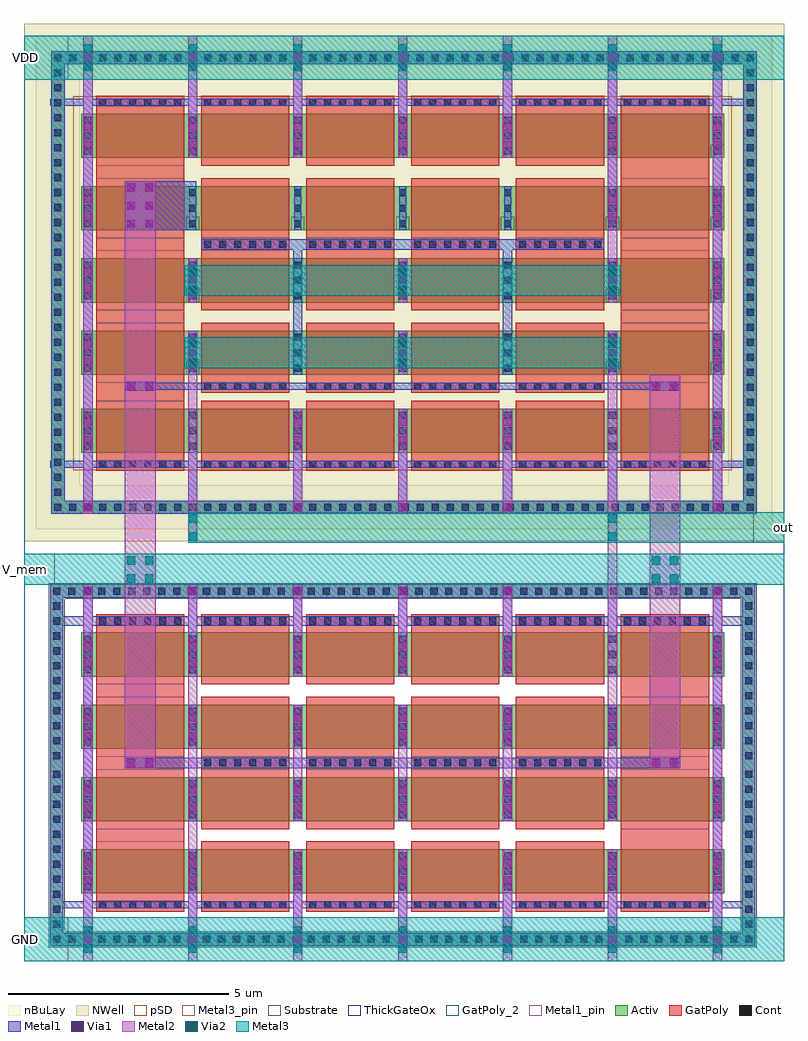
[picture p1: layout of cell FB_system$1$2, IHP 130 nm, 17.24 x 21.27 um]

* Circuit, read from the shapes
.subckt FB_system$1$2 GND VDD V_mem out
XM1 GND GND GND GND sg13_hv_nmos w=1u l=2u m=14
XM2 n1 V_mem GND GND sg13_hv_nmos w=1u l=2u m=2
XM3 n2 V_mem n1 GND sg13_hv_nmos w=1u l=2u m=2
XM4 n3 V_mem n2 GND sg13_hv_nmos w=1u l=2u m=2
XM5 out V_mem n3 GND sg13_hv_nmos w=1u l=2u m=2
XM6 GND GND out GND sg13_hv_nmos w=1u l=2u m=2
XM7 VDD VDD VDD VDD sg13_hv_pmos w=1u l=2u m=15
XM8 out VDD VDD VDD sg13_hv_pmos w=1u l=2u m=2
XM9 V_mem VDD VDD VDD sg13_hv_pmos w=1u l=2u
XM10 n4 V_mem out VDD sg13_hv_pmos w=1u l=2u m=4
XM11 n4 n4 VDD VDD sg13_hv_pmos w=1u l=2u m=4
XM12 n5 n4 V_mem VDD sg13_hv_pmos w=1u l=2u
XM13 n6 n4 n5 VDD sg13_hv_pmos w=1u l=2u
XM14 n7 n4 n6 VDD sg13_hv_pmos w=1u l=2u
XM15 VDD n4 n7 VDD sg13_hv_pmos w=1u l=2u
.ends

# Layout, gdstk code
from math import pi, radians
import gdstk
lib = gdstk.Library(unit=1e-6, precision=1e-09)
def R(c, l, rs):  # rectangles x0, y0, x1, y1
    for r in rs: c.add(gdstk.rectangle(r[:2], r[2:], *l))
def A(c, l, x, y, w, h, nx, ny, dx, dy):  # array of equal rectangles
    R(c, l, [(x+i*dx, y+j*dy, x+i*dx+w, y+j*dy+h) for i in range(nx) for j in range(ny)])
def P(c, l, *ps):  # polygons
    for p in ps: c.add(gdstk.Polygon(p, *l))
Activ = (1, 0)
GatPoly = (5, 0)
GatPoly_2 = (5, 2)
Cont = (6, 0)
Metal1 = (8, 0)
Metal1_pin = (8, 2)
Metal2 = (10, 0)
pSD = (14, 0)
Via1 = (19, 0)
Via2 = (29, 0)
Metal3 = (30, 0)
Metal3_pin = (30, 2)
NWell = (31, 0)
nBuLay = (32, 0)
Substrate = (40, 0)
ThickGateOx = (44, 0)

guard_ring_1_1_2 = lib.new_cell('guard_ring$1$1$2')
R(guard_ring_1_1_2, Activ, [(-8,-4.95,-7.7,4.95), (7.7,-4.95,8,4.95), (-8,4.95,8,5.25)])
P(guard_ring_1_1_2, Activ, [(-8,-5.25),(-8,4.95),(-7.7,4.95),(-7.7,-4.95),(7.7,-4.95),(7.7,4.95),(-8,4.95),(-8,5.25),(8,5.25),(8,-5.25)])
A(guard_ring_1_1_2, Cont, -7.93, -5.18, 0.16, 0.16, 23, 2, 0.34, 10.2)
A(guard_ring_1_1_2, Cont, -0.05, -5.18, 0.16, 0.16, 24, 2, 0.34, 10.2)
A(guard_ring_1_1_2, Cont, -7.93, -4.84, 0.16, 0.16, 1, 29, 0, 0.34)
A(guard_ring_1_1_2, Cont, 7.77, -4.84, 0.16, 0.16, 1, 29, 0, 0.34)
R(guard_ring_1_1_2, Metal1, [(-8,-5.25,8,-4.95), (-8,-4.95,-7.7,4.95), (7.7,-4.95,8,4.95), (-8,4.95,8,5.25)])
R(guard_ring_1_1_2, NWell, [(-8.35,-5.6,8.35,5.6)])
R(guard_ring_1_1_2, nBuLay, [(-8.35,-4.6,-7.35,4.6), (7.35,-4.6,8.35,4.6), (-8.35,4.6,8.35,5.6)])
P(guard_ring_1_1_2, nBuLay, [(-8.35,-5.6),(-8.35,4.6),(-7.35,4.6),(-7.35,-4.6),(7.35,-4.6),(7.35,4.6),(-8.35,4.6),(-8.35,5.6),(8.35,5.6),(8.35,-5.6)])
guard_ring_1_1_2.add(gdstk.Label('well', (0,-5.1), layer=63, texttype=0))

via_stack_21_2 = lib.new_cell('via_stack$21$2')
R(via_stack_21_2, Metal1, [(-0.105,-0.35,0.105,0.35)])
R(via_stack_21_2, Metal2, [(-0.1,-0.35,0.1,0.35)])
R(via_stack_21_2, Via1, [(-0.095,-0.3,0.095,-0.11), (-0.095,0.11,0.095,0.3)])

via_stack_1_1_2 = lib.new_cell('via_stack$1$1$2')
R(via_stack_1_1_2, Metal2, [(-0.1,-0.35,0.1,0.35)])
R(via_stack_1_1_2, Via2, [(-0.095,-0.3,0.095,-0.11), (-0.095,0.11,0.095,0.3)])
R(via_stack_1_1_2, Metal3, [(-0.1,-0.35,0.1,0.35)])

via_stack_2_1_2 = lib.new_cell('via_stack$2$1$2')
R(via_stack_2_1_2, Metal1, [(-0.145,-0.105,0.145,0.105)])
R(via_stack_2_1_2, Metal2, [(-0.145,-0.1,0.145,0.1)])
R(via_stack_2_1_2, Via1, [(-0.095,-0.095,0.095,0.095)])

pmoshv_2_1_2 = lib.new_cell('pmosHV$2$1$2')
A(pmoshv_2_1_2, Activ, 0, 0, 0.3, 0.3, 5, 1, 2.38, 0)
R(pmoshv_2_1_2, Activ, [(0,0,9.82,1)])
A(pmoshv_2_1_2, GatPoly, 0.34, -0.18, 2, 1.36, 4, 1, 2.38, 0)
R(pmoshv_2_1_2, GatPoly_2, [(0.34,-0.18,2.34,1.18)])
A(pmoshv_2_1_2, Cont, 0.07, 0.07, 0.16, 0.16, 5, 3, 2.38, 0.35)
A(pmoshv_2_1_2, Metal1, 0.07, 0, 0.16, 1, 5, 1, 2.38, 0)
R(pmoshv_2_1_2, Metal1_pin, [(0.07,0,0.23,1), (2.45,0,2.61,1)])
R(pmoshv_2_1_2, pSD, [(-0.18,-0.4,10,1.4)])
R(pmoshv_2_1_2, NWell, [(-0.62,-0.62,10.44,1.62)])
R(pmoshv_2_1_2, Substrate, [(9.52,0,9.82,0.3)])
R(pmoshv_2_1_2, ThickGateOx, [(-0.62,-0.62,10.44,1.62)])
pmoshv_2_1_2.add(gdstk.Label('pmosHV', (1.34,0.5), layer=63, texttype=0))

pmoshv_3_3_2 = lib.new_cell('pmosHV$3$3$2')
A(pmoshv_3_3_2, Activ, 0, 0, 0.3, 0.3, 7, 1, 2.38, 0)
R(pmoshv_3_3_2, Activ, [(0,0,14.58,1)])
A(pmoshv_3_3_2, GatPoly, 0.34, -0.18, 2, 1.36, 6, 1, 2.38, 0)
R(pmoshv_3_3_2, GatPoly_2, [(0.34,-0.18,2.34,1.18)])
A(pmoshv_3_3_2, Cont, 0.07, 0.07, 0.16, 0.16, 7, 3, 2.38, 0.35)
A(pmoshv_3_3_2, Metal1, 0.07, 0, 0.16, 1, 7, 1, 2.38, 0)
R(pmoshv_3_3_2, Metal1_pin, [(0.07,0,0.23,1), (2.45,0,2.61,1)])
R(pmoshv_3_3_2, pSD, [(-0.18,-0.4,14.76,1.4)])
R(pmoshv_3_3_2, NWell, [(-0.62,-0.62,15.2,1.62)])
R(pmoshv_3_3_2, Substrate, [(14.28,0,14.58,0.3)])
R(pmoshv_3_3_2, ThickGateOx, [(-0.62,-0.62,15.2,1.62)])
pmoshv_3_3_2.add(gdstk.Label('pmosHV', (1.34,0.5), layer=63, texttype=0))

pmoshv_9_2 = lib.new_cell('pmosHV$9$2')
R(pmoshv_9_2, Activ, [(0,0,0.3,0.3), (0,0,2.68,1), (2.38,0,2.68,0.3)])
R(pmoshv_9_2, GatPoly, [(0.34,-0.18,2.34,1.18)])
R(pmoshv_9_2, GatPoly_2, [(0.34,-0.18,2.34,1.18)])
A(pmoshv_9_2, Cont, 0.07, 0.07, 0.16, 0.16, 1, 3, 0, 0.35)
A(pmoshv_9_2, Cont, 2.45, 0.07, 0.16, 0.16, 1, 3, 0, 0.35)
R(pmoshv_9_2, Metal1, [(0.07,0,0.23,1), (2.45,0,2.61,1)])
R(pmoshv_9_2, Metal1_pin, [(0.07,0,0.23,1), (2.45,0,2.61,1)])
R(pmoshv_9_2, pSD, [(-0.18,-0.4,2.86,1.4)])
R(pmoshv_9_2, NWell, [(-0.62,-0.62,3.3,1.62)])
R(pmoshv_9_2, Substrate, [(2.38,0,2.68,0.3)])
R(pmoshv_9_2, ThickGateOx, [(-0.62,-0.62,3.3,1.62)])
pmoshv_9_2.add(gdstk.Label('pmosHV', (1.34,0.5), layer=63, texttype=0))

nmoshv_7_2 = lib.new_cell('nmosHV$7$2')
R(nmoshv_7_2, Activ, [(0,0,0.3,0.3), (0,0,2.68,1), (2.38,0,2.68,0.3)])
R(nmoshv_7_2, GatPoly, [(0.34,-0.18,2.34,1.18)])
R(nmoshv_7_2, GatPoly_2, [(0.34,-0.18,2.34,1.18)])
A(nmoshv_7_2, Cont, 0.07, 0.07, 0.16, 0.16, 1, 3, 0, 0.35)
A(nmoshv_7_2, Cont, 2.45, 0.07, 0.16, 0.16, 1, 3, 0, 0.35)
R(nmoshv_7_2, Metal1, [(0.07,0,0.23,1), (2.45,0,2.61,1)])
R(nmoshv_7_2, Metal1_pin, [(0.07,0,0.23,1), (2.45,0,2.61,1)])
R(nmoshv_7_2, ThickGateOx, [(-0.27,-0.52,2.95,1.52)])
nmoshv_7_2.add(gdstk.Label('nmosHV', (1.34,0.5), layer=63, texttype=0))

nmoshv_2_1_2 = lib.new_cell('nmosHV$2$1$2')
A(nmoshv_2_1_2, Activ, 0, 0, 0.3, 0.3, 7, 1, 2.38, 0)
R(nmoshv_2_1_2, Activ, [(0,0,14.58,1)])
A(nmoshv_2_1_2, GatPoly, 0.34, -0.18, 2, 1.36, 6, 1, 2.38, 0)
R(nmoshv_2_1_2, GatPoly_2, [(0.34,-0.18,2.34,1.18)])
A(nmoshv_2_1_2, Cont, 0.07, 0.07, 0.16, 0.16, 7, 3, 2.38, 0.35)
A(nmoshv_2_1_2, Metal1, 0.07, 0, 0.16, 1, 7, 1, 2.38, 0)
R(nmoshv_2_1_2, Metal1_pin, [(0.07,0,0.23,1), (2.45,0,2.61,1)])
R(nmoshv_2_1_2, ThickGateOx, [(-0.27,-0.52,14.85,1.52)])
nmoshv_2_1_2.add(gdstk.Label('nmosHV', (1.34,0.5), layer=63, texttype=0))

guard_ring_5_2 = lib.new_cell('guard_ring$5$2')
R(guard_ring_5_2, Activ, [(-8,-3.8,-7.7,3.8), (7.7,-3.8,8,3.8), (-8,3.8,8,4.1)])
P(guard_ring_5_2, Activ, [(-8,-4.1),(-8,3.8),(-7.7,3.8),(-7.7,-3.8),(7.7,-3.8),(7.7,3.8),(-8,3.8),(-8,4.1),(8,4.1),(8,-4.1)])
A(guard_ring_5_2, Cont, -7.93, -4.03, 0.16, 0.16, 23, 2, 0.34, 7.9)
A(guard_ring_5_2, Cont, -0.05, -4.03, 0.16, 0.16, 24, 2, 0.34, 7.9)
A(guard_ring_5_2, Cont, -7.93, -3.69, 0.16, 0.16, 1, 11, 0, 0.34)
A(guard_ring_5_2, Cont, 7.77, -3.69, 0.16, 0.16, 1, 11, 0, 0.34)
A(guard_ring_5_2, Cont, -7.93, 0.13, 0.16, 0.16, 1, 11, 0, 0.34)
A(guard_ring_5_2, Cont, 7.77, 0.13, 0.16, 0.16, 1, 11, 0, 0.34)
R(guard_ring_5_2, Metal1, [(-8,-4.1,8,-3.8), (-8,-3.8,-7.7,3.8), (7.7,-3.8,8,3.8), (-8,3.8,8,4.1)])
R(guard_ring_5_2, pSD, [(-8.03,-3.77,-7.67,3.77), (7.67,-3.77,8.03,3.77), (-8.03,3.77,8.03,4.13)])
P(guard_ring_5_2, pSD, [(-8.03,-4.13),(-8.03,3.77),(-7.67,3.77),(-7.67,-3.77),(7.67,-3.77),(7.67,3.77),(-8.03,3.77),(-8.03,4.13),(8.03,4.13),(8.03,-4.13)])
R(guard_ring_5_2, Substrate, [(-8.03,-3.77,-7.67,3.77), (7.67,-3.77,8.03,3.77), (-8.03,3.77,8.03,4.13)])
P(guard_ring_5_2, Substrate, [(-8.03,-4.13),(-8.03,3.77),(-7.67,3.77),(-7.67,-3.77),(7.67,-3.77),(7.67,3.77),(-8.03,3.77),(-8.03,4.13),(8.03,4.13),(8.03,-4.13)])
guard_ring_5_2.add(gdstk.Label('sub!', (0,-3.95), layer=63, texttype=0))

via_stack_3_1_2 = lib.new_cell('via_stack$3$1$2')
R(via_stack_3_1_2, GatPoly, [(-1,-0.15,1,0.15)])
A(via_stack_3_1_2, Cont, -0.93, -0.08, 0.16, 0.16, 6, 1, 0.34, 0)
R(via_stack_3_1_2, Metal1, [(-0.98,-0.08,0.98,0.08)])

via_stack_4_1_2 = lib.new_cell('via_stack$4$1$2')
R(via_stack_4_1_2, Metal1, [(-0.35,-0.105,0.35,0.105)])
R(via_stack_4_1_2, Metal2, [(-0.35,-0.1,0.35,0.1)])
R(via_stack_4_1_2, Via1, [(-0.3,-0.095,-0.11,0.095), (0.11,-0.095,0.3,0.095)])

via_stack_5_1_2 = lib.new_cell('via_stack$5$1$2')
R(via_stack_5_1_2, Metal1, [(-0.31,-0.555,0.31,0.555)])
R(via_stack_5_1_2, Metal2, [(-0.305,-0.555,0.305,0.555)])
A(via_stack_5_1_2, Via1, -0.3, -0.505, 0.19, 0.19, 1, 3, 0, 0.41)
A(via_stack_5_1_2, Via1, 0.11, -0.505, 0.19, 0.19, 1, 3, 0, 0.41)

via_stack_6_1_2 = lib.new_cell('via_stack$6$1$2')
R(via_stack_6_1_2, Metal2, [(-0.35,-0.305,0.35,0.305)])
R(via_stack_6_1_2, Via2, [(-0.3,-0.3,-0.11,-0.11), (0.11,-0.3,0.3,-0.11), (-0.3,0.11,-0.11,0.3), (0.11,0.11,0.3,0.3)])
R(via_stack_6_1_2, Metal3, [(-0.35,-0.305,0.35,0.305)])

fb_system_1_2 = lib.new_cell('FB_system$1$2')
A(fb_system_1_2, GatPoly, 4.02, 2.5, 2, 3, 4, 2, 2.38, 11.765)
R(fb_system_1_2, GatPoly, [(1.64,0.86,3.64,7.14), (13.54,0.86,15.54,7.14), (1.64,10.625,3.64,19.135), (13.54,10.625,15.54,19.135)])
A(fb_system_1_2, Metal1, 1.345, 1.04, 0.21, 1, 7, 3, 2.38, 1.64)
A(fb_system_1_2, Metal1, 1.345, 5.96, 0.21, 1, 4, 1, 2.38, 0)
A(fb_system_1_2, Metal1, 6.105, 11.035, 0.21, 1, 3, 1, 2.38, 0)
A(fb_system_1_2, Metal1, 1.345, 12.805, 0.21, 1, 1, 3, 0, 1.64)
A(fb_system_1_2, Metal1, 15.625, 12.805, 0.21, 1, 1, 3, 0, 1.64)
A(fb_system_1_2, Metal1, 3.725, 14.445, 0.21, 1, 3, 1, 4.76, 0)
A(fb_system_1_2, Metal1, 1.345, 17.725, 0.21, 1, 7, 1, 2.38, 0)
R(fb_system_1_2, Metal1, [(8.485,5.96,8.695,6.96), (10.865,5.96,11.075,6.96), (10.865,5.96,11.075,6.96), (15.625,5.96,15.835,6.96), (15.625,5.96,15.835,6.96), (1.345,11.035,1.555,12.035), (15.625,11.035,15.835,12.035), (3.725,12.805,3.935,13.805), (8.485,12.805,8.695,13.805), (8.485,12.805,8.695,13.805), (13.245,12.805,13.455,13.805), (2.285,16.085,3.91,17.195), (13.245,16.085,13.455,17.085)])
A(fb_system_1_2, Metal2, 3.725, 14.445, 0.21, 1, 3, 1, 4.76, 0)
R(fb_system_1_2, Metal2, [(8.485,12.805,8.695,13.805)])
R(fb_system_1_2, Metal3_pin, [(0,-0.5,1,0.5), (0,8.04,0.7,8.74), (16.54,8.99,17.24,9.69), (0,19.5,1,20.5)])
R(fb_system_1_2, NWell, [(0,9.025,17.24,20.77)])
R(fb_system_1_2, ThickGateOx, [(0,-0.5,17.24,20.5)])
fb_system_1_2.add(gdstk.FlexPath([(2.285,4),(14.89,4)], 0.24, ends="flush", simple_path=True, layer=8, datatype=0))  # Metal1
fb_system_1_2.add(gdstk.FlexPath([(4.02,15.765),(13.16,15.765)], 0.24, ends="flush", simple_path=True, layer=8, datatype=0))  # Metal1
fb_system_1_2.add(gdstk.FlexPath([(2.285,12.545),(14.89,12.545)], 0.16, ends="flush", simple_path=True, layer=8, datatype=0))  # Metal1
fb_system_1_2.add(gdstk.FlexPath([(0.59,7.22),(16.59,7.22)], 0.21, ends="flush", simple_path=True, layer=8, datatype=0))  # Metal1
fb_system_1_2.add(gdstk.FlexPath([(0.59,0.78),(16.59,0.78)], 0.16, ends="flush", simple_path=True, layer=8, datatype=0))  # Metal1
fb_system_1_2.add(gdstk.FlexPath([(15.73,8.05),(15.73,5.96)], 0.21, ends="flush", simple_path=True, layer=8, datatype=0))  # Metal1
fb_system_1_2.add(gdstk.FlexPath([(3.83,5.96),(3.83,8.05)], 0.21, ends="flush", simple_path=True, layer=8, datatype=0))  # Metal1
fb_system_1_2.add(gdstk.FlexPath([(6.21,5.96),(6.21,8.05)], 0.21, ends="flush", simple_path=True, layer=8, datatype=0))  # Metal1
fb_system_1_2.add(gdstk.FlexPath([(8.59,5.96),(8.59,8.05)], 0.21, ends="flush", simple_path=True, layer=8, datatype=0))  # Metal1
fb_system_1_2.add(gdstk.FlexPath([(10.97,5.96),(10.97,8.05)], 0.21, ends="flush", simple_path=True, layer=8, datatype=0))  # Metal1
fb_system_1_2.add(gdstk.FlexPath([(1.45,2.04),(1.45,0)], 0.21, ends="flush", simple_path=True, layer=8, datatype=0))  # Metal1
fb_system_1_2.add(gdstk.FlexPath([(1.45,8.05),(1.45,-0.15)], 0.21, ends="flush", simple_path=True, layer=8, datatype=0))  # Metal1
fb_system_1_2.add(gdstk.FlexPath([(15.73,2.04),(15.73,0)], 0.21, ends="flush", simple_path=True, layer=8, datatype=0))  # Metal1
fb_system_1_2.add(gdstk.FlexPath([(3.83,0),(3.83,2.04)], 0.21, ends="flush", simple_path=True, layer=8, datatype=0))  # Metal1
fb_system_1_2.add(gdstk.FlexPath([(6.21,0),(6.21,2.04)], 0.21, ends="flush", simple_path=True, layer=8, datatype=0))  # Metal1
fb_system_1_2.add(gdstk.FlexPath([(8.59,0),(8.59,2.04)], 0.21, ends="flush", simple_path=True, layer=8, datatype=0))  # Metal1
fb_system_1_2.add(gdstk.FlexPath([(10.97,0),(10.97,2.04)], 0.21, ends="flush", simple_path=True, layer=8, datatype=0))  # Metal1
fb_system_1_2.add(gdstk.FlexPath([(13.35,0),(13.35,2.04)], 0.21, ends="flush", simple_path=True, layer=8, datatype=0))  # Metal1
fb_system_1_2.add(gdstk.FlexPath([(8.59,0),(8.59,2.04)], 0.21, ends="flush", simple_path=True, layer=8, datatype=0))  # Metal1
fb_system_1_2.add(gdstk.FlexPath([(6.21,0),(6.21,2.04)], 0.21, ends="flush", simple_path=True, layer=8, datatype=0))  # Metal1
fb_system_1_2.add(gdstk.FlexPath([(3.83,0),(3.83,2.04)], 0.21, ends="flush", simple_path=True, layer=8, datatype=0))  # Metal1
fb_system_1_2.add(gdstk.FlexPath([(8.59,5.96),(8.59,8.05)], 0.21, ends="flush", simple_path=True, layer=8, datatype=0))  # Metal1
fb_system_1_2.add(gdstk.FlexPath([(10.97,5.96),(10.97,8.05)], 0.21, ends="flush", simple_path=True, layer=8, datatype=0))  # Metal1
fb_system_1_2.add(gdstk.FlexPath([(13.35,5.96),(13.35,8.05)], 0.21, ends="flush", simple_path=True, layer=8, datatype=0))  # Metal1
fb_system_1_2.add(gdstk.FlexPath([(15.73,-0.15),(15.73,8.05)], 0.21, ends="flush", simple_path=True, layer=8, datatype=0))  # Metal1
fb_system_1_2.add(gdstk.FlexPath([(6.21,12.805),(6.21,15.885)], 0.21, ends="flush", simple_path=True, layer=8, datatype=0))  # Metal1
fb_system_1_2.add(gdstk.FlexPath([(10.97,12.805),(10.97,15.885)], 0.21, ends="flush", simple_path=True, layer=8, datatype=0))  # Metal1
fb_system_1_2.add(gdstk.FlexPath([(15.73,9.65),(15.73,20.15)], 0.21, ends="flush", simple_path=True, layer=8, datatype=0))  # Metal1
fb_system_1_2.add(gdstk.FlexPath([(1.45,9.65),(1.45,20.15)], 0.21, ends="flush", simple_path=True, layer=8, datatype=0))  # Metal1
fb_system_1_2.add(gdstk.FlexPath([(10.97,12.035),(10.97,9.65)], 0.21, ends="flush", simple_path=True, layer=8, datatype=0))  # Metal1
fb_system_1_2.add(gdstk.FlexPath([(8.59,12.035),(8.59,9.65)], 0.21, ends="flush", simple_path=True, layer=8, datatype=0))  # Metal1
fb_system_1_2.add(gdstk.FlexPath([(6.21,12.035),(6.21,9.65)], 0.21, ends="flush", simple_path=True, layer=8, datatype=0))  # Metal1
fb_system_1_2.add(gdstk.FlexPath([(3.83,12.035),(3.83,9.65)], 0.21, ends="flush", simple_path=True, layer=8, datatype=0))  # Metal1
fb_system_1_2.add(gdstk.FlexPath([(13.35,12.035),(13.35,9.65)], 0.21, ends="flush", simple_path=True, layer=8, datatype=0))  # Metal1
fb_system_1_2.add(gdstk.FlexPath([(3.83,17.725),(3.83,20.15)], 0.21, ends="flush", simple_path=True, layer=8, datatype=0))  # Metal1
fb_system_1_2.add(gdstk.FlexPath([(6.21,17.725),(6.21,20.15)], 0.21, ends="flush", simple_path=True, layer=8, datatype=0))  # Metal1
fb_system_1_2.add(gdstk.FlexPath([(8.59,17.725),(8.59,20.15)], 0.21, ends="flush", simple_path=True, layer=8, datatype=0))  # Metal1
fb_system_1_2.add(gdstk.FlexPath([(10.97,17.725),(10.97,20.15)], 0.21, ends="flush", simple_path=True, layer=8, datatype=0))  # Metal1
fb_system_1_2.add(gdstk.FlexPath([(13.35,16.085),(13.35,20.15)], 0.21, ends="flush", simple_path=True, layer=8, datatype=0))  # Metal1
fb_system_1_2.add(gdstk.FlexPath([(0.59,18.985),(16.59,18.985)], 0.16, ends="flush", simple_path=True, layer=8, datatype=0))  # Metal1
fb_system_1_2.add(gdstk.FlexPath([(0.59,10.775),(16.59,10.775)], 0.16, ends="flush", simple_path=True, layer=8, datatype=0))  # Metal1
fb_system_1_2.add(gdstk.FlexPath([(6.21,5.32),(6.21,2.68)], 0.21, ends="flush", simple_path=True, layer=10, datatype=0))  # Metal2
fb_system_1_2.add(gdstk.FlexPath([(3.83,5.32),(3.83,2.68)], 0.21, ends="flush", simple_path=True, layer=10, datatype=0))  # Metal2
fb_system_1_2.add(gdstk.FlexPath([(8.59,5.32),(8.59,2.68)], 0.21, ends="flush", simple_path=True, layer=10, datatype=0))  # Metal2
fb_system_1_2.add(gdstk.FlexPath([(10.97,5.32),(10.97,2.68)], 0.21, ends="flush", simple_path=True, layer=10, datatype=0))  # Metal2
fb_system_1_2.add(gdstk.FlexPath([(1.45,8.05),(1.45,-0.5)], 0.21, ends="flush", simple_path=True, layer=10, datatype=0))  # Metal2
fb_system_1_2.add(gdstk.FlexPath([(15.73,8.05),(15.73,-0.5)], 0.21, ends="flush", simple_path=True, layer=10, datatype=0))  # Metal2
fb_system_1_2.add(gdstk.FlexPath([(13.35,2.04),(13.35,-0.5)], 0.21, ends="flush", simple_path=True, layer=10, datatype=0))  # Metal2
fb_system_1_2.add(gdstk.FlexPath([(10.97,2.04),(10.97,-0.5)], 0.21, ends="flush", simple_path=True, layer=10, datatype=0))  # Metal2
fb_system_1_2.add(gdstk.FlexPath([(8.59,2.04),(8.59,-0.5)], 0.21, ends="flush", simple_path=True, layer=10, datatype=0))  # Metal2
fb_system_1_2.add(gdstk.FlexPath([(6.21,2.04),(6.21,-0.5)], 0.21, ends="flush", simple_path=True, layer=10, datatype=0))  # Metal2
fb_system_1_2.add(gdstk.FlexPath([(3.83,2.04),(3.83,-0.5)], 0.21, ends="flush", simple_path=True, layer=10, datatype=0))  # Metal2
fb_system_1_2.add(gdstk.FlexPath([(3.83,8.05),(3.83,-0.5)], 0.21, ends="flush", simple_path=True, layer=10, datatype=0))  # Metal2
fb_system_1_2.add(gdstk.FlexPath([(6.21,5.96),(6.21,8.05)], 0.21, ends="flush", simple_path=True, layer=10, datatype=0))  # Metal2
fb_system_1_2.add(gdstk.FlexPath([(8.59,5.96),(8.59,8.05)], 0.21, ends="flush", simple_path=True, layer=10, datatype=0))  # Metal2
fb_system_1_2.add(gdstk.FlexPath([(10.97,5.96),(10.97,8.05)], 0.21, ends="flush", simple_path=True, layer=10, datatype=0))  # Metal2
fb_system_1_2.add(gdstk.FlexPath([(13.35,13.805),(13.35,2.68)], 0.21, ends="flush", simple_path=True, layer=10, datatype=0))  # Metal2
fb_system_1_2.add(gdstk.FlexPath([(2.635,3.88),(2.635,17.195)], 0.7, ends="flush", simple_path=True, layer=10, datatype=0))  # Metal2
fb_system_1_2.add(gdstk.FlexPath([(14.54,3.88),(14.54,12.805)], 0.7, ends="flush", simple_path=True, layer=10, datatype=0))  # Metal2
fb_system_1_2.add(gdstk.FlexPath([(3.83,13.805),(3.83,8.99)], 0.21, ends="flush", simple_path=True, layer=10, datatype=0))  # Metal2
fb_system_1_2.add(gdstk.FlexPath([(3.83,17.725),(3.83,20.5)], 0.21, ends="flush", simple_path=True, layer=10, datatype=0))  # Metal2
fb_system_1_2.add(gdstk.FlexPath([(6.21,17.725),(6.21,20.5)], 0.21, ends="flush", simple_path=True, layer=10, datatype=0))  # Metal2
fb_system_1_2.add(gdstk.FlexPath([(8.59,17.725),(8.59,20.5)], 0.21, ends="flush", simple_path=True, layer=10, datatype=0))  # Metal2
fb_system_1_2.add(gdstk.FlexPath([(10.97,17.725),(10.97,20.5)], 0.21, ends="flush", simple_path=True, layer=10, datatype=0))  # Metal2
fb_system_1_2.add(gdstk.FlexPath([(15.73,9.65),(15.73,20.5)], 0.21, ends="flush", simple_path=True, layer=10, datatype=0))  # Metal2
fb_system_1_2.add(gdstk.FlexPath([(1.45,9.65),(1.45,20.5)], 0.21, ends="flush", simple_path=True, layer=10, datatype=0))  # Metal2
fb_system_1_2.add(gdstk.FlexPath([(10.97,12.035),(10.97,9.65)], 0.21, ends="flush", simple_path=True, layer=10, datatype=0))  # Metal2
fb_system_1_2.add(gdstk.FlexPath([(8.59,12.035),(8.59,9.65)], 0.21, ends="flush", simple_path=True, layer=10, datatype=0))  # Metal2
fb_system_1_2.add(gdstk.FlexPath([(6.21,12.035),(6.21,9.65)], 0.21, ends="flush", simple_path=True, layer=10, datatype=0))  # Metal2
fb_system_1_2.add(gdstk.FlexPath([(13.35,14.445),(13.35,20.5)], 0.21, ends="flush", simple_path=True, layer=10, datatype=0))  # Metal2
fb_system_1_2.add(gdstk.FlexPath([(17.24,8.39),(0,8.39)], 0.7, ends="flush", simple_path=True, layer=30, datatype=0))  # Metal3
fb_system_1_2.add(gdstk.FlexPath([(3.725,9.34),(17.24,9.34)], 0.7, ends="flush", simple_path=True, layer=30, datatype=0))  # Metal3
fb_system_1_2.add(gdstk.FlexPath([(3.64,14.945),(13.54,14.945)], 0.7, ends="flush", simple_path=True, layer=30, datatype=0))  # Metal3
fb_system_1_2.add(gdstk.FlexPath([(3.64,13.305),(13.54,13.305)], 0.7, ends="flush", simple_path=True, layer=30, datatype=0))  # Metal3
fb_system_1_2.add(gdstk.FlexPath([(0,0),(17.24,0)], 1, ends="flush", simple_path=True, layer=30, datatype=0))  # Metal3
fb_system_1_2.add(gdstk.FlexPath([(0,20),(17.24,20)], 1, ends="flush", simple_path=True, layer=30, datatype=0))  # Metal3
fb_system_1_2.add(gdstk.Reference(guard_ring_1_1_2, (8.62,14.9)))
fb_system_1_2.add(gdstk.Reference(via_stack_21_2, (8.59,13.305)))
fb_system_1_2.add(gdstk.Reference(via_stack_1_1_2, (8.59,13.305)))
fb_system_1_2.add(gdstk.Reference(via_stack_21_2, (8.59,13.305)))
fb_system_1_2.add(gdstk.Reference(via_stack_1_1_2, (8.59,14.945)))
fb_system_1_2.add(gdstk.Reference(via_stack_21_2, (8.59,14.945)))
fb_system_1_2.add(gdstk.Reference(via_stack_1_1_2, (8.59,20)))
fb_system_1_2.add(gdstk.Reference(via_stack_2_1_2, (8.59,20), rotation=pi/2))
fb_system_1_2.add(gdstk.Reference(via_stack_21_2, (8.59,18.225)))
fb_system_1_2.add(gdstk.Reference(via_stack_21_2, (8.59,11.535)))
fb_system_1_2.add(gdstk.Reference(pmoshv_2_1_2, (3.68,12.805)))
fb_system_1_2.add(gdstk.Reference(pmoshv_3_3_2, (1.3,11.035)))
fb_system_1_2.add(gdstk.Reference(pmoshv_3_3_2, (1.3,17.725)))
fb_system_1_2.add(gdstk.Reference(pmoshv_2_1_2, (3.68,14.445)))
fb_system_1_2.add(gdstk.Reference(pmoshv_9_2, (6.06,16.085)))
fb_system_1_2.add(gdstk.Reference(pmoshv_9_2, (8.44,16.085)))
fb_system_1_2.add(gdstk.Reference(nmoshv_7_2, (6.06,2.68)))
fb_system_1_2.add(gdstk.Reference(nmoshv_7_2, (8.44,2.68)))
fb_system_1_2.add(gdstk.Reference(nmoshv_2_1_2, (1.3,5.96)))
fb_system_1_2.add(gdstk.Reference(nmoshv_7_2, (6.06,4.32)))
fb_system_1_2.add(gdstk.Reference(nmoshv_2_1_2, (1.3,1.04)))
fb_system_1_2.add(gdstk.Reference(nmoshv_7_2, (8.44,4.32)))
fb_system_1_2.add(gdstk.Reference(via_stack_21_2, (8.59,3.18)))
fb_system_1_2.add(gdstk.Reference(via_stack_21_2, (8.59,4.82)))
fb_system_1_2.add(gdstk.Reference(via_stack_21_2, (8.59,1.54)))
fb_system_1_2.add(gdstk.Reference(via_stack_1_1_2, (8.59,0)))
fb_system_1_2.add(gdstk.Reference(via_stack_2_1_2, (8.59,0), rotation=pi/2))
fb_system_1_2.add(gdstk.Reference(via_stack_21_2, (8.59,6.46)))
fb_system_1_2.add(gdstk.Reference(via_stack_2_1_2, (8.59,7.9), rotation=pi/2))
fb_system_1_2.add(gdstk.Reference(guard_ring_5_2, (8.59,3.95)))
fb_system_1_2.add(gdstk.Reference(via_stack_2_1_2, (8.59,9.8), rotation=pi/2))
fb_system_1_2.add(gdstk.Reference(via_stack_21_2, (15.73,14.945)))
fb_system_1_2.add(gdstk.Reference(via_stack_21_2, (15.73,13.305)))
fb_system_1_2.add(gdstk.Reference(via_stack_21_2, (13.35,16.585)))
fb_system_1_2.add(gdstk.Reference(via_stack_21_2, (15.73,11.535)))
fb_system_1_2.add(gdstk.Reference(via_stack_21_2, (10.97,11.535)))
fb_system_1_2.add(gdstk.Reference(via_stack_21_2, (13.35,13.305)))
fb_system_1_2.add(gdstk.Reference(via_stack_3_1_2, (12.16,12.545)))
fb_system_1_2.add(gdstk.Reference(via_stack_3_1_2, (12.16,18.985)))
fb_system_1_2.add(gdstk.Reference(via_stack_3_1_2, (14.54,18.985)))
fb_system_1_2.add(gdstk.Reference(via_stack_3_1_2, (9.78,18.985)))
fb_system_1_2.add(gdstk.Reference(via_stack_3_1_2, (12.16,10.775)))
fb_system_1_2.add(gdstk.Reference(via_stack_3_1_2, (14.54,10.775)))
fb_system_1_2.add(gdstk.Reference(via_stack_3_1_2, (9.78,10.775)))
fb_system_1_2.add(gdstk.Reference(via_stack_3_1_2, (12.16,15.765)))
fb_system_1_2.add(gdstk.Reference(via_stack_1_1_2, (13.35,13.305)))
fb_system_1_2.add(gdstk.Reference(via_stack_4_1_2, (14.54,12.545)))
fb_system_1_2.add(gdstk.Reference(via_stack_3_1_2, (9.78,15.765)))
fb_system_1_2.add(gdstk.Reference(via_stack_21_2, (13.35,14.945)))
fb_system_1_2.add(gdstk.Reference(pmoshv_9_2, (10.82,16.085)))
fb_system_1_2.add(gdstk.Reference(via_stack_1_1_2, (13.35,14.945)))
fb_system_1_2.add(gdstk.Reference(pmoshv_9_2, (13.2,12.805)))
fb_system_1_2.add(gdstk.Reference(via_stack_1_1_2, (15.73,20)))
fb_system_1_2.add(gdstk.Reference(via_stack_2_1_2, (15.73,20), rotation=pi/2))
fb_system_1_2.add(gdstk.Reference(pmoshv_9_2, (13.2,14.445)))
fb_system_1_2.add(gdstk.Reference(pmoshv_9_2, (13.2,16.085)))
fb_system_1_2.add(gdstk.Reference(via_stack_3_1_2, (9.78,12.545)))
fb_system_1_2.add(gdstk.Reference(via_stack_1_1_2, (10.97,20)))
fb_system_1_2.add(gdstk.Reference(via_stack_2_1_2, (10.97,20), rotation=pi/2))
fb_system_1_2.add(gdstk.Reference(via_stack_21_2, (10.97,18.225)))
fb_system_1_2.add(gdstk.Reference(via_stack_1_1_2, (13.35,20)))
fb_system_1_2.add(gdstk.Reference(via_stack_2_1_2, (13.35,20), rotation=pi/2))
fb_system_1_2.add(gdstk.Reference(via_stack_21_2, (13.35,18.225)))
fb_system_1_2.add(gdstk.Reference(via_stack_21_2, (15.73,18.225)))
fb_system_1_2.add(gdstk.Reference(via_stack_21_2, (15.73,16.585)))
fb_system_1_2.add(gdstk.Reference(via_stack_21_2, (1.45,16.585)))
fb_system_1_2.add(gdstk.Reference(via_stack_21_2, (1.45,14.945)))
fb_system_1_2.add(gdstk.Reference(via_stack_21_2, (1.45,13.305)))
fb_system_1_2.add(gdstk.Reference(via_stack_21_2, (1.45,11.535)))
fb_system_1_2.add(gdstk.Reference(via_stack_1_1_2, (3.83,13.305)))
fb_system_1_2.add(gdstk.Reference(via_stack_1_1_2, (6.21,20)))
fb_system_1_2.add(gdstk.Reference(via_stack_2_1_2, (6.21,20), rotation=pi/2))
fb_system_1_2.add(gdstk.Reference(via_stack_21_2, (6.21,18.225)))
fb_system_1_2.add(gdstk.Reference(via_stack_21_2, (6.21,11.535)))
fb_system_1_2.add(gdstk.Reference(pmoshv_9_2, (1.3,16.085)))
fb_system_1_2.add(gdstk.Reference(via_stack_3_1_2, (7.4,12.545)))
fb_system_1_2.add(gdstk.Reference(via_stack_3_1_2, (7.4,18.985)))
fb_system_1_2.add(gdstk.Reference(via_stack_4_1_2, (2.635,12.545)))
fb_system_1_2.add(gdstk.Reference(via_stack_3_1_2, (2.64,18.985)))
fb_system_1_2.add(gdstk.Reference(via_stack_3_1_2, (5.02,18.985)))
fb_system_1_2.add(gdstk.Reference(via_stack_3_1_2, (7.4,15.765)))
fb_system_1_2.add(gdstk.Reference(via_stack_3_1_2, (5.02,15.765)))
fb_system_1_2.add(gdstk.Reference(via_stack_3_1_2, (7.4,10.775)))
fb_system_1_2.add(gdstk.Reference(via_stack_1_1_2, (3.83,20)))
fb_system_1_2.add(gdstk.Reference(via_stack_3_1_2, (2.64,10.775)))
fb_system_1_2.add(gdstk.Reference(via_stack_3_1_2, (5.02,10.775)))
fb_system_1_2.add(gdstk.Reference(via_stack_2_1_2, (3.83,20), rotation=pi/2))
fb_system_1_2.add(gdstk.Reference(via_stack_5_1_2, (2.635,16.64)))
fb_system_1_2.add(gdstk.Reference(via_stack_21_2, (3.83,18.225)))
fb_system_1_2.add(gdstk.Reference(via_stack_1_1_2, (3.83,14.945)))
fb_system_1_2.add(gdstk.Reference(via_stack_3_1_2, (5.02,12.545)))
fb_system_1_2.add(gdstk.Reference(via_stack_21_2, (3.83,14.945)))
fb_system_1_2.add(gdstk.Reference(via_stack_1_1_2, (1.45,20)))
fb_system_1_2.add(gdstk.Reference(pmoshv_9_2, (1.3,12.805)))
fb_system_1_2.add(gdstk.Reference(via_stack_21_2, (3.83,13.305)))
fb_system_1_2.add(gdstk.Reference(pmoshv_9_2, (1.3,14.445)))
fb_system_1_2.add(gdstk.Reference(pmoshv_9_2, (3.68,16.085)))
fb_system_1_2.add(gdstk.Reference(via_stack_2_1_2, (1.45,20), rotation=pi/2))
fb_system_1_2.add(gdstk.Reference(via_stack_1_1_2, (1.45,20)))
fb_system_1_2.add(gdstk.Reference(via_stack_2_1_2, (1.45,20), rotation=pi/2))
fb_system_1_2.add(gdstk.Reference(via_stack_21_2, (1.45,18.225)))
fb_system_1_2.add(gdstk.Reference(nmoshv_7_2, (3.68,2.68)))
fb_system_1_2.add(gdstk.Reference(via_stack_3_1_2, (5.02,7.22)))
fb_system_1_2.add(gdstk.Reference(via_stack_3_1_2, (2.64,7.22)))
fb_system_1_2.add(gdstk.Reference(via_stack_3_1_2, (7.4,7.22)))
fb_system_1_2.add(gdstk.Reference(via_stack_3_1_2, (5.02,0.78)))
fb_system_1_2.add(gdstk.Reference(via_stack_3_1_2, (2.64,0.78)))
fb_system_1_2.add(gdstk.Reference(via_stack_2_1_2, (1.45,9.8), rotation=pi/2))
fb_system_1_2.add(gdstk.Reference(via_stack_3_1_2, (7.4,0.78)))
fb_system_1_2.add(gdstk.Reference(via_stack_21_2, (1.45,3.18)))
fb_system_1_2.add(gdstk.Reference(via_stack_21_2, (1.45,1.54)))
fb_system_1_2.add(gdstk.Reference(nmoshv_7_2, (3.68,4.32)))
fb_system_1_2.add(gdstk.Reference(via_stack_21_2, (1.45,6.46)))
fb_system_1_2.add(gdstk.Reference(nmoshv_7_2, (1.3,2.68)))
fb_system_1_2.add(gdstk.Reference(nmoshv_7_2, (1.3,4.32)))
fb_system_1_2.add(gdstk.Reference(via_stack_1_1_2, (1.45,0)))
fb_system_1_2.add(gdstk.Reference(via_stack_2_1_2, (1.45,0), rotation=pi/2))
fb_system_1_2.add(gdstk.Reference(via_stack_2_1_2, (6.21,9.8), rotation=pi/2))
fb_system_1_2.add(gdstk.Reference(via_stack_3_1_2, (7.4,4)))
fb_system_1_2.add(gdstk.Reference(via_stack_21_2, (6.21,3.18)))
fb_system_1_2.add(gdstk.Reference(via_stack_21_2, (6.21,4.82)))
fb_system_1_2.add(gdstk.Reference(via_stack_21_2, (3.83,3.18)))
fb_system_1_2.add(gdstk.Reference(via_stack_21_2, (6.21,1.54)))
fb_system_1_2.add(gdstk.Reference(via_stack_1_1_2, (6.21,0)))
fb_system_1_2.add(gdstk.Reference(via_stack_2_1_2, (6.21,0), rotation=pi/2))
fb_system_1_2.add(gdstk.Reference(via_stack_21_2, (3.83,1.54)))
fb_system_1_2.add(gdstk.Reference(via_stack_1_1_2, (3.83,0)))
fb_system_1_2.add(gdstk.Reference(via_stack_2_1_2, (3.83,0), rotation=pi/2))
fb_system_1_2.add(gdstk.Reference(via_stack_2_1_2, (3.83,7.9), rotation=pi/2))
fb_system_1_2.add(gdstk.Reference(via_stack_2_1_2, (1.45,7.9), rotation=pi/2))
fb_system_1_2.add(gdstk.Reference(via_stack_21_2, (6.21,6.46)))
fb_system_1_2.add(gdstk.Reference(via_stack_2_1_2, (6.21,7.9), rotation=pi/2))
fb_system_1_2.add(gdstk.Reference(via_stack_21_2, (3.83,4.82)))
fb_system_1_2.add(gdstk.Reference(via_stack_3_1_2, (5.02,4)))
fb_system_1_2.add(gdstk.Reference(via_stack_4_1_2, (2.635,4)))
fb_system_1_2.add(gdstk.Reference(via_stack_6_1_2, (2.635,8.39)))
fb_system_1_2.add(gdstk.Reference(via_stack_1_1_2, (3.83,9.34)))
fb_system_1_2.add(gdstk.Reference(via_stack_21_2, (3.83,6.46)))
fb_system_1_2.add(gdstk.Reference(via_stack_21_2, (1.45,4.82)))
fb_system_1_2.add(gdstk.Reference(via_stack_6_1_2, (14.54,8.39)))
fb_system_1_2.add(gdstk.Reference(via_stack_1_1_2, (13.35,9.34)))
fb_system_1_2.add(gdstk.Reference(via_stack_3_1_2, (9.78,7.22)))
fb_system_1_2.add(gdstk.Reference(via_stack_1_1_2, (15.73,0)))
fb_system_1_2.add(gdstk.Reference(nmoshv_7_2, (10.82,4.32)))
fb_system_1_2.add(gdstk.Reference(via_stack_2_1_2, (15.73,0), rotation=pi/2))
fb_system_1_2.add(gdstk.Reference(via_stack_21_2, (13.35,1.54)))
fb_system_1_2.add(gdstk.Reference(via_stack_3_1_2, (14.54,7.22)))
fb_system_1_2.add(gdstk.Reference(via_stack_1_1_2, (13.35,0)))
fb_system_1_2.add(gdstk.Reference(via_stack_2_1_2, (13.35,0), rotation=pi/2))
fb_system_1_2.add(gdstk.Reference(via_stack_21_2, (10.97,1.54)))
fb_system_1_2.add(gdstk.Reference(via_stack_1_1_2, (10.97,0)))
fb_system_1_2.add(gdstk.Reference(via_stack_2_1_2, (10.97,0), rotation=pi/2))
fb_system_1_2.add(gdstk.Reference(via_stack_3_1_2, (12.16,7.22)))
fb_system_1_2.add(gdstk.Reference(via_stack_3_1_2, (12.16,4)))
fb_system_1_2.add(gdstk.Reference(via_stack_21_2, (10.97,3.18)))
fb_system_1_2.add(gdstk.Reference(via_stack_3_1_2, (9.78,0.78)))
fb_system_1_2.add(gdstk.Reference(via_stack_21_2, (10.97,4.82)))
fb_system_1_2.add(gdstk.Reference(via_stack_2_1_2, (15.73,9.8), rotation=pi/2))
fb_system_1_2.add(gdstk.Reference(via_stack_3_1_2, (14.54,0.78)))
fb_system_1_2.add(gdstk.Reference(via_stack_2_1_2, (10.97,9.8), rotation=pi/2))
fb_system_1_2.add(gdstk.Reference(via_stack_3_1_2, (12.16,0.78)))
fb_system_1_2.add(gdstk.Reference(via_stack_21_2, (13.35,3.18)))
fb_system_1_2.add(gdstk.Reference(via_stack_21_2, (13.35,4.82)))
fb_system_1_2.add(gdstk.Reference(via_stack_21_2, (15.73,4.82)))
fb_system_1_2.add(gdstk.Reference(via_stack_21_2, (15.73,3.18)))
fb_system_1_2.add(gdstk.Reference(via_stack_21_2, (15.73,1.54)))
fb_system_1_2.add(gdstk.Reference(via_stack_21_2, (15.73,6.46)))
fb_system_1_2.add(gdstk.Reference(nmoshv_7_2, (10.82,2.68)))
fb_system_1_2.add(gdstk.Reference(via_stack_3_1_2, (9.78,4)))
fb_system_1_2.add(gdstk.Reference(via_stack_21_2, (10.97,6.46)))
fb_system_1_2.add(gdstk.Reference(via_stack_2_1_2, (10.97,7.9), rotation=pi/2))
fb_system_1_2.add(gdstk.Reference(nmoshv_7_2, (13.2,2.68)))
fb_system_1_2.add(gdstk.Reference(via_stack_4_1_2, (14.54,4)))
fb_system_1_2.add(gdstk.Reference(via_stack_21_2, (15.73,6.46)))
fb_system_1_2.add(gdstk.Reference(via_stack_2_1_2, (15.73,7.9), rotation=pi/2))
fb_system_1_2.add(gdstk.Reference(nmoshv_7_2, (13.2,4.32)))
fb_system_1_2.add(gdstk.Label('GND', (0.035,0), layer=30, texttype=25))
fb_system_1_2.add(gdstk.Label('V_mem', (0.025,8.39), layer=30, texttype=25))
fb_system_1_2.add(gdstk.Label('VDD', (0.035,20), layer=30, texttype=25))
fb_system_1_2.add(gdstk.Label('out', (17.22,9.34), layer=30, texttype=25))

lib.write_gds('FB_system_1_2.gds')
